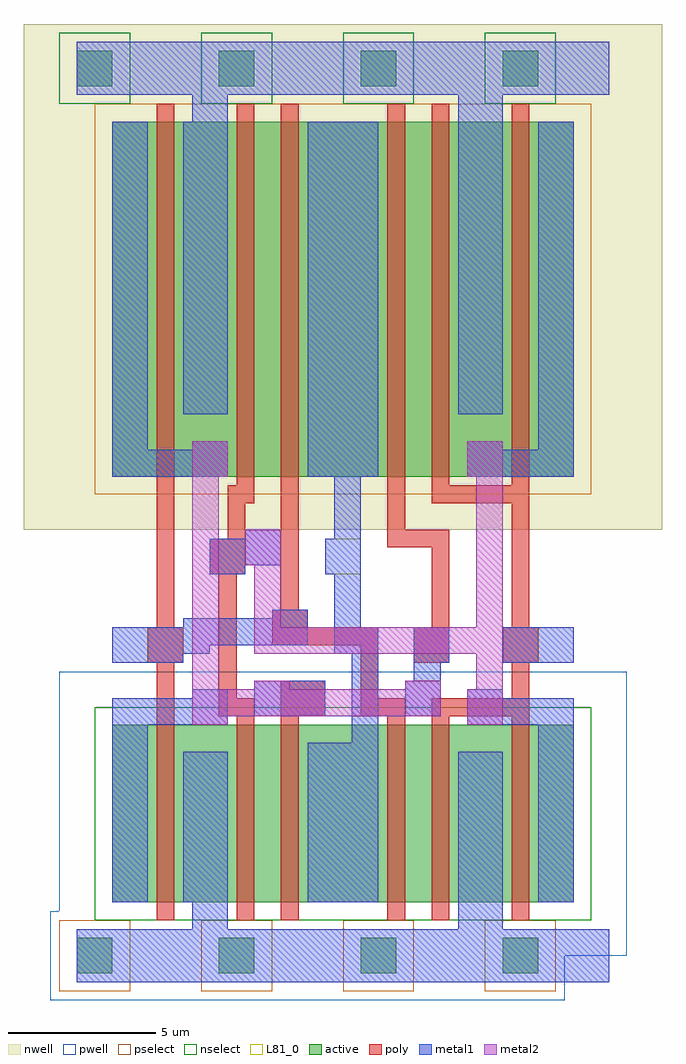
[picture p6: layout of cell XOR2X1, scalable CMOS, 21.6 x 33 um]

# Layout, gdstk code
import gdstk
lib = gdstk.Library(unit=1e-6, precision=1e-09)
def R(c, l, rs):  # rectangles x0, y0, x1, y1
    for r in rs: c.add(gdstk.rectangle(r[:2], r[2:], *l))
def A(c, l, x, y, w, h, nx, ny, dx, dy):  # array of equal rectangles
    R(c, l, [(x+i*dx, y+j*dy, x+i*dx+w, y+j*dy+h) for i in range(nx) for j in range(ny)])
pwell = (41, 0)
nwell = (42, 0)
active = (43, 0)
pselect = (44, 0)
nselect = (45, 0)
poly = (46, 0)
metal1 = (49, 0)
metal2 = (51, 0)
L81_0 = (81, 0)

xor2x1 = lib.new_cell('XOR2X1')
R(xor2x1, pwell, [(-1.5,-1.5,15.9,0), (-1.5,0,18,1.5), (-1.2,1.5,18,9.6)])
R(xor2x1, nwell, [(-2.4,14.4,19.2,31.5)])
A(xor2x1, active, -0.6, -0.6, 1.2, 1.2, 4, 2, 4.8, 30)
R(xor2x1, active, [(0.6,1.8,16.2,7.8), (0.6,16.2,16.2,28.2)])
A(xor2x1, pselect, -1.2, -1.2, 2.4, 2.4, 4, 1, 4.8, 0)
R(xor2x1, pselect, [(0,15.6,16.8,28.8)])
A(xor2x1, nselect, -1.2, 28.8, 2.4, 2.4, 4, 1, 4.8, 0)
R(xor2x1, nselect, [(0,1.2,16.8,8.4)])
R(xor2x1, poly, [(2.1,1.2,2.7,9.9), (4.8,1.2,5.4,8.1), (6.3,1.2,6.9,8.1), (9.9,1.2,10.5,8.1), (11.4,1.2,12,8.1), (14.1,1.2,14.7,8.1), (4.2,8.1,5.4,8.7), (6.3,8.1,7.8,9.3), (9,8.1,10.5,8.7), (11.4,8.1,14.7,8.7), (4.2,8.7,4.8,12.9), (9,8.7,9.6,10.5), (14.1,8.7,14.7,9.9), (1.8,9.9,3,11.1), (10.8,9.9,12,11.1), (13.8,9.9,15,11.1), (6,10.5,9.6,11.1), (2.1,11.1,2.7,28.8), (6,11.1,7.2,11.7), (11.4,11.1,12,13.8), (14.1,11.1,14.7,15.3), (6.3,11.7,6.9,28.8), (3.9,12.9,5.1,14.1), (9.9,13.8,12,14.4), (4.5,14.1,5.1,15.3), (9.9,14.4,10.5,28.8), (4.5,15.3,5.4,15.9), (11.4,15.3,14.7,15.9), (4.8,15.9,5.4,28.8), (11.4,15.9,12,28.8), (14.1,15.9,14.7,28.8)])
R(xor2x1, metal1, [(-0.6,-0.9,17.4,0.9), (3.3,0.9,4.5,1.8), (12.3,0.9,13.8,6.9), (0.6,1.8,1.8,7.8), (3,1.8,4.5,6.9), (7.2,1.8,9.6,7.2), (15,1.8,16.2,7.8), (8.7,7.2,9.6,10.2), (0.6,7.8,4.5,8.7), (12.6,7.8,16.2,8.7), (5.4,8.1,7.8,9.3), (10.5,8.1,11.7,9.3), (3.3,8.7,4.5,9), (12.6,8.7,13.8,9), (10.8,9.3,11.7,9.9), (0.6,9.9,3,10.2), (10.8,9.9,12,11.1), (13.8,9.9,16.2,11.1), (0.6,10.2,3.9,10.5), (8.1,10.2,9.6,11.1), (0.6,10.5,7.2,11.1), (3,11.1,7.2,11.4), (8.1,11.1,9,12.9), (6,11.4,7.2,11.7), (3.9,12.9,5.1,13.2), (7.8,12.9,9,14.1), (3.9,13.2,6.3,14.1), (5.1,14.1,6.3,14.4), (8.1,14.1,9,16.2), (0.6,16.2,4.5,17.1), (7.2,16.2,9.6,28.2), (12.6,16.2,16.2,17.1), (0.6,17.1,1.8,28.2), (3.3,17.1,4.5,17.4), (12.6,17.1,13.8,17.4), (15,17.1,16.2,28.2), (3,18.3,4.5,28.2), (12.3,18.3,13.8,29.1), (3.3,28.2,4.5,29.1), (-0.6,29.1,17.4,30.9)])
R(xor2x1, metal2, [(3.3,7.8,4.5,8.1), (12.6,7.8,13.8,9), (3.3,8.1,11.7,9), (3.3,9,4.2,16.2), (5.4,9,6.6,9.3), (10.5,9,11.7,9.3), (12.9,9,13.8,10.2), (5.4,10.2,13.8,11.1), (5.4,11.1,6.3,13.2), (12.9,11.1,13.8,16.2), (5.1,13.2,6.3,14.4), (3.3,16.2,4.5,17.4), (12.6,16.2,13.8,17.4)])
R(xor2x1, L81_0, [(0.6,9.9,1.8,11.1), (15,9.9,16.2,11.1), (7.8,12.9,9,14.1)])

lib.write_gds('XOR2X1.gds')
